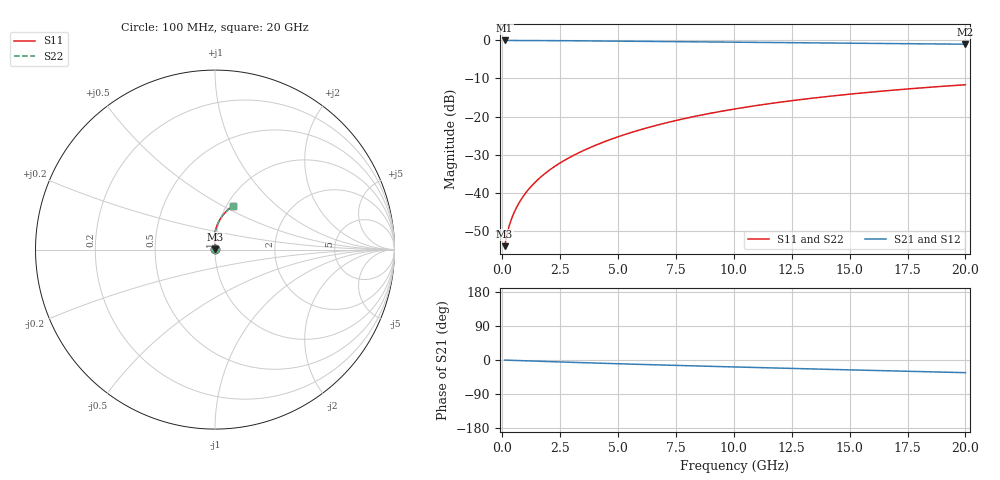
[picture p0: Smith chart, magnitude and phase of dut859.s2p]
! Touchstone file exported from HFSS 2024.1.0
!  File:  C:/UserFiles/LocalFiles/RDL_TSV_Batchsim/temp_RDL_bottom_859_1779864510.aedt
!  Generated:  02:50:50 PM May 27, 2026
!  Design:  RDL_bottom
!  Project:  temp_RDL_bottom_859_1779864510
!  Setup:  Setup1
!  Solution:  Sweep
! Variables:
!  dtsv = 10.80580581um
!  hbump = 3um
!  htsv = 60.44um
!  ldown = 510.32um
!  lrdl = 100um
!  p = 40
!  p1 = 49.48um
!  rhole = 1um
!  t = 450um
!  tdown = 4.66um
!  trdl = 3.915915916um
!  wdown = 27.75um
!  wrdl = 20um
# GHz S MA R 50.000000
! Terminal data exported
! Port[1] = RDL1_T1
! Port[2] = RDL1_T2
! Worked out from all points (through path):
!   200 points, 100 MHz to 20 GHz, reference 50 ohm
!   highest |S21| = -0.01 dB at 100 MHz (marker M1); lowest = -1.0 dB at 20 GHz (marker M2)
!   group delay of S21, straight-line fit = 4.56 ps
!   lowest |S11| = -54.1 dB at 100 MHz (marker M3), VSWR 1.00, Z = 50.2 + j0.114 ohm
!   |S11| at or under -10 dB: start of sweep to end of sweep
!   |S22| runs from -54.1 to -11.6 dB; largest |S21 - S12| = 3.1e-15
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0.1  0.001978 35.2  0.9984 -0.2  0.9984 -0.2  0.001978 35.2
! Gamma 0 0 0 0
! Port Impedance 50 0 50 0
0.2  0.002803 51.5  0.9982 -0.4  0.9982 -0.4  0.002803 51.5
0.3  0.003674 59.6  0.998 -0.6  0.998 -0.6  0.003674 59.6
0.4  0.004533 64.7  0.9978 -0.9  0.9978 -0.9  0.004533 64.7
0.5  0.005388 68.4  0.9977 -1.1  0.9977 -1.1  0.005388 68.4
0.6  0.006249 71.4  0.9975 -1.3  0.9975 -1.3  0.006249 71.4
0.8  0.008003 75.9  0.9972 -1.7  0.9972 -1.7  0.008003 75.9
1.1  0.01072 80.3  0.9966 -2.3  0.9966 -2.3  0.01072 80.4
1.3  0.01258 82.5  0.9961 -2.7  0.9961 -2.7  0.01258 82.5
1.6  0.01545 84.9  0.9953 -3.3  0.9953 -3.3  0.01545 84.9
2.1  0.02041 87.7  0.9936 -4.3  0.9936 -4.3  0.02041 87.7
2.7  0.0267 89.9  0.991 -5.5  0.991 -5.5  0.0267 89.9
3.5  0.03565 91.7  0.987 -7.1  0.987 -7.1  0.03566 91.7
4.2  0.04402 92.4  0.983 -8.4  0.983 -8.4  0.04403 92.4
5  0.05414 92.6  0.9782 -9.9  0.9782 -9.9  0.05415 92.6
6.8  0.07863 91.4  0.9667 -13.1  0.9667 -13.1  0.07864 91.4
8.4  0.1016 89.2  0.9567 -15.8  0.9567 -15.8  0.1016 89.2
10.1  0.1265 86.3  0.9464 -18.5  0.9464 -18.5  0.1266 86.3
11.7  0.1499 83.3  0.937 -21.0  0.937 -21.0  0.1499 83.3
13.4  0.1743 80.1  0.9274 -23.6  0.9274 -23.6  0.1743 80.1
16.7  0.2196 73.9  0.9093 -28.6  0.9093 -28.6  0.2196 73.9
20  0.2615 68.0  0.8916 -33.4  0.8916 -33.4  0.2615 68.1
